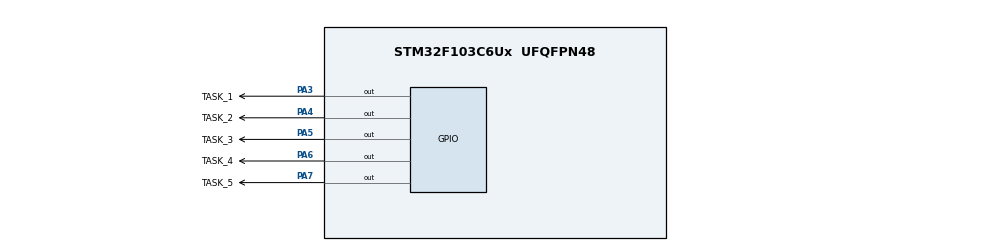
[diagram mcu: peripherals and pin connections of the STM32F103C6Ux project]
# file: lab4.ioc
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Mcu.Family=STM32F1
Mcu.Name=STM32F103C6Ux
Mcu.Package=UFQFPN48
NVIC.PriorityGroup=NVIC_PRIORITYGROUP_4
NVIC.TIM2_IRQn=true\:0\:0\:false\:false\:true\:true\:true
PA3.GPIO_Label=TASK_1
PA3.Signal=GPIO_Output
PA4.GPIO_Label=TASK_2
PA4.Signal=GPIO_Output
PA5.GPIO_Label=TASK_3
PA5.Signal=GPIO_Output
PA6.GPIO_Label=TASK_4
PA6.Signal=GPIO_Output
PA7.GPIO_Label=TASK_5
PA7.Signal=GPIO_Output
ProjectManager.HeapSize=0x200
ProjectManager.StackSize=0x400
ProjectManager.TargetToolchain=STM32CubeIDE
RCC.APB1Freq_Value=8000000
RCC.APB2Freq_Value=8000000
TIM2.Period=9
TIM2.Prescaler=7999
VP_SYS_VS_ND.Mode=No_Debug
VP_TIM2_VS_ClockSourceINT.Mode=Internal
board=custom

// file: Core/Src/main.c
/* USER CODE BEGIN Header */
/**
  ******************************************************************************
  * @file           : main.c
  * @brief          : Main program body
  ******************************************************************************
  * @attention
  *
  * <h2><center>&copy; Copyright (c) 2022 STMicroelectronics.
  * All rights reserved.</center></h2>
  *
  * This software component is licensed by ST under BSD 3-Clause license,
  * the "License"; You may not use this file except in compliance with the
  * License. You may obtain a copy of the License at:
  *                        opensource.org/licenses/BSD-3-Clause
  *
  ******************************************************************************
  */
/* USER CODE END Header */
#include "main.h"

/* USER CODE BEGIN Includes */
#include "software_timer.h"
#include "scheduler.h"
/* USER CODE END Includes */

TIM_HandleTypeDef htim2;

void SystemClock_Config(void);
static void MX_TIM2_Init(void);
static void MX_GPIO_Init(void);

/* USER CODE BEGIN 0 */
void task1run(){
	HAL_GPIO_TogglePin(TASK_1_GPIO_Port, TASK_1_Pin);
}
void task2run(){
	HAL_GPIO_TogglePin(TASK_2_GPIO_Port, TASK_2_Pin);
}
void task3run(){
	HAL_GPIO_TogglePin(TASK_3_GPIO_Port, TASK_3_Pin);
}
void task4run(){
	HAL_GPIO_TogglePin(TASK_4_GPIO_Port, TASK_4_Pin);
}
void task5run(){
	HAL_GPIO_TogglePin(TASK_5_GPIO_Port, TASK_5_Pin);
}
/* USER CODE END 0 */

int main(void)
{

  /* MCU Configuration--------------------------------------------------------*/

  /* Reset of all peripherals, Initializes the Flash interface and the Systick. */
  HAL_Init();

  /* Configure the system clock */
  SystemClock_Config();

  /* Initialize all configured peripherals */
  MX_TIM2_Init();
  MX_GPIO_Init();
  /* USER CODE BEGIN 2 */
  HAL_TIM_Base_Start_IT (& htim2 ) ;
  /* USER CODE END 2 */
  SCH_Add_Task(task1run, 1000, 500);
  SCH_Add_Task(task2run, 1000, 1000);
  SCH_Add_Task(task3run, 1000, 1500);
  SCH_Add_Task(task4run, 1000, 2000);
  SCH_Add_Task(task5run, 2500, 0);
  /* Infinite loop */
  /* USER CODE BEGIN WHILE */
  while (1)
  {
	  SCH_Dispatch_Tasks();
    /* USER CODE END WHILE */

  }
}

void SystemClock_Config(void)
{
  RCC_OscInitTypeDef RCC_OscInitStruct = {0};
  RCC_ClkInitTypeDef RCC_ClkInitStruct = {0};

  /** Initializes the RCC Oscillators according to the specified parameters
  * in the RCC_OscInitTypeDef structure.
  */
  RCC_OscInitStruct.OscillatorType = RCC_OSCILLATORTYPE_HSI;
  RCC_OscInitStruct.HSIState = RCC_HSI_ON;
  RCC_OscInitStruct.HSICalibrationValue = RCC_HSICALIBRATION_DEFAULT;
  RCC_OscInitStruct.PLL.PLLState = RCC_PLL_NONE;
  if (HAL_RCC_OscConfig(&RCC_OscInitStruct) != HAL_OK)
  {
    Error_Handler();
  }
  /** Initializes the CPU, AHB and APB buses clocks
  */
  RCC_ClkInitStruct.ClockType = RCC_CLOCKTYPE_HCLK|RCC_CLOCKTYPE_SYSCLK
                              |RCC_CLOCKTYPE_PCLK1|RCC_CLOCKTYPE_PCLK2;
  RCC_ClkInitStruct.SYSCLKSource = RCC_SYSCLKSOURCE_HSI;
  RCC_ClkInitStruct.AHBCLKDivider = RCC_SYSCLK_DIV1;
  RCC_ClkInitStruct.APB1CLKDivider = RCC_HCLK_DIV1;
  RCC_ClkInitStruct.APB2CLKDivider = RCC_HCLK_DIV1;

  if (HAL_RCC_ClockConfig(&RCC_ClkInitStruct, FLASH_LATENCY_0) != HAL_OK)
  {
    Error_Handler();
  }
}

static void MX_TIM2_Init(void)
{

  TIM_ClockConfigTypeDef sClockSourceConfig = {0};
  TIM_MasterConfigTypeDef sMasterConfig = {0};

  htim2.Instance = TIM2;
  htim2.Init.Prescaler = 7999;
  htim2.Init.CounterMode = TIM_COUNTERMODE_UP;
  htim2.Init.Period = 9;
  htim2.Init.ClockDivision = TIM_CLOCKDIVISION_DIV1;
  htim2.Init.AutoReloadPreload = TIM_AUTORELOAD_PRELOAD_DISABLE;
  if (HAL_TIM_Base_Init(&htim2) != HAL_OK)
  {
    Error_Handler();
  }
  sClockSourceConfig.ClockSource = TIM_CLOCKSOURCE_INTERNAL;
  if (HAL_TIM_ConfigClockSource(&htim2, &sClockSourceConfig) != HAL_OK)
  {
    Error_Handler();
  }
  sMasterConfig.MasterOutputTrigger = TIM_TRGO_RESET;
  sMasterConfig.MasterSlaveMode = TIM_MASTERSLAVEMODE_DISABLE;
  if (HAL_TIMEx_MasterConfigSynchronization(&htim2, &sMasterConfig) != HAL_OK)
  {
    Error_Handler();
  }

}

static void MX_GPIO_Init(void)
{
  GPIO_InitTypeDef GPIO_InitStruct = {0};

  /* GPIO Ports Clock Enable */
  __HAL_RCC_GPIOA_CLK_ENABLE();

  /*Configure GPIO pin Output Level */
  HAL_GPIO_WritePin(GPIOA, TASK_1_Pin|TASK_2_Pin|TASK_3_Pin|TASK_4_Pin
                          |TASK_5_Pin, GPIO_PIN_RESET);

  /*Configure GPIO pins : TASK_1_Pin TASK_2_Pin TASK_3_Pin TASK_4_Pin
                           TASK_5_Pin */
  GPIO_InitStruct.Pin = TASK_1_Pin|TASK_2_Pin|TASK_3_Pin|TASK_4_Pin
                          |TASK_5_Pin;
  GPIO_InitStruct.Mode = GPIO_MODE_OUTPUT_PP;
  GPIO_InitStruct.Pull = GPIO_NOPULL;
  GPIO_InitStruct.Speed = GPIO_SPEED_FREQ_LOW;
  HAL_GPIO_Init(GPIOA, &GPIO_InitStruct);

}

/* USER CODE BEGIN 4 */
void HAL_TIM_PeriodElapsedCallback ( TIM_HandleTypeDef * htim )
{
	SCH_Update();
}
/* USER CODE END 4 */

void Error_Handler(void)
{
  __disable_irq();
  while (1)
  {
  }
}

/************************ (C) COPYRIGHT STMicroelectronics *****END OF FILE****/
